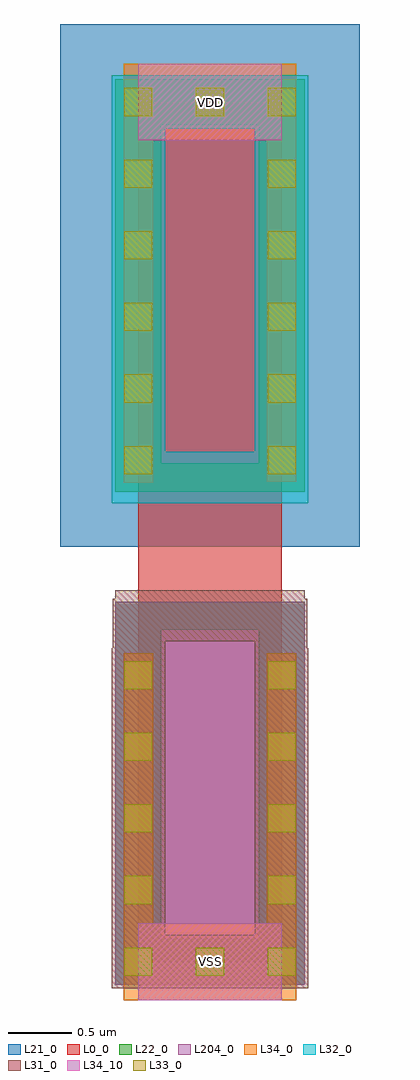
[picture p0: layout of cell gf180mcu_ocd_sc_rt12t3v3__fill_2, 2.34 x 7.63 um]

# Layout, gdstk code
import gdstk
lib = gdstk.Library(unit=1e-6, precision=1e-09)
def R(c, l, rs):  # rectangles x0, y0, x1, y1
    for r in rs: c.add(gdstk.rectangle(r[:2], r[2:], *l))
def A(c, l, x, y, w, h, nx, ny, dx, dy):  # array of equal rectangles
    R(c, l, [(x+i*dx, y+j*dy, x+i*dx+w, y+j*dy+h) for i in range(nx) for j in range(ny)])
L0_0 = (0, 0)
L21_0 = (21, 0)
L22_0 = (22, 0)
L31_0 = (31, 0)
L32_0 = (32, 0)
L33_0 = (33, 0)
L34_0 = (34, 0)
L34_10 = (34, 10)
L204_0 = (204, 0)

gf180mcu_ocd_sc_rt12t3v3 = lib.new_cell('gf180mcu_ocd_sc_rt12t3v3__fill_2')
R(gf180mcu_ocd_sc_rt12t3v3, L0_0, [(0,0,1.12,6.72)])
R(gf180mcu_ocd_sc_rt12t3v3, L21_0, [(-0.61,3.245,1.73,7.33)])
R(gf180mcu_ocd_sc_rt12t3v3, L22_0, [(-0.18,-0.18,1.3,0.18), (-0.18,0.18,0.18,2.595), (0.94,0.18,1.3,2.595), (-0.18,2.595,1.3,2.815), (-0.18,3.675,1.3,3.895), (-0.18,3.895,0.18,6.54), (0.94,3.895,1.3,6.54), (-0.18,6.54,1.3,6.9)])
R(gf180mcu_ocd_sc_rt12t3v3, L31_0, [(-0.21,-0.21,1.33,0.21), (-0.21,0.21,0.21,2.45), (0.91,0.21,1.33,2.45), (-0.2,2.45,0.21,2.505), (0.91,2.45,1.32,2.505), (-0.2,2.505,1.32,2.835), (-0.18,2.835,1.3,2.905)])
R(gf180mcu_ocd_sc_rt12t3v3, L32_0, [(-0.21,3.585,1.33,3.985), (-0.21,3.985,0.21,6.51), (0.91,3.985,1.33,6.51), (-0.21,6.51,1.33,6.93)])
A(gf180mcu_ocd_sc_rt12t3v3, L33_0, -0.11, -0.11, 0.22, 0.22, 3, 2, 0.56, 6.72)
A(gf180mcu_ocd_sc_rt12t3v3, L33_0, -0.11, 0.45, 0.22, 0.22, 1, 4, 0, 0.56)
A(gf180mcu_ocd_sc_rt12t3v3, L33_0, 1.01, 0.45, 0.22, 0.22, 1, 4, 0, 0.56)
A(gf180mcu_ocd_sc_rt12t3v3, L33_0, -0.11, 3.81, 0.22, 0.22, 1, 5, 0, 0.56)
A(gf180mcu_ocd_sc_rt12t3v3, L33_0, 1.01, 3.81, 0.22, 0.22, 1, 5, 0, 0.56)
R(gf180mcu_ocd_sc_rt12t3v3, L34_0, [(-0.115,-0.3,1.235,0.3), (-0.115,0.3,0.115,2.41), (1.005,0.3,1.235,2.41), (-0.115,3.745,0.115,6.42), (1.005,3.75,1.235,6.42), (-0.115,6.42,1.235,7.02)])
R(gf180mcu_ocd_sc_rt12t3v3, L34_10, [(0,-0.3,1.12,0.3), (0,6.42,1.12,7.02)])
R(gf180mcu_ocd_sc_rt12t3v3, L204_0, [(0,-0.3,1.12,-0.18), (-0.18,-0.18,1.3,2.815)])
gf180mcu_ocd_sc_rt12t3v3.add(gdstk.Label('VDD', (0.56,6.72), layer=34, texttype=10))
gf180mcu_ocd_sc_rt12t3v3.add(gdstk.Label('VSS', (0.56,0), layer=34, texttype=10))

lib.write_gds('gf180mcu_ocd_sc_rt12t3v3__fill_2.gds')
